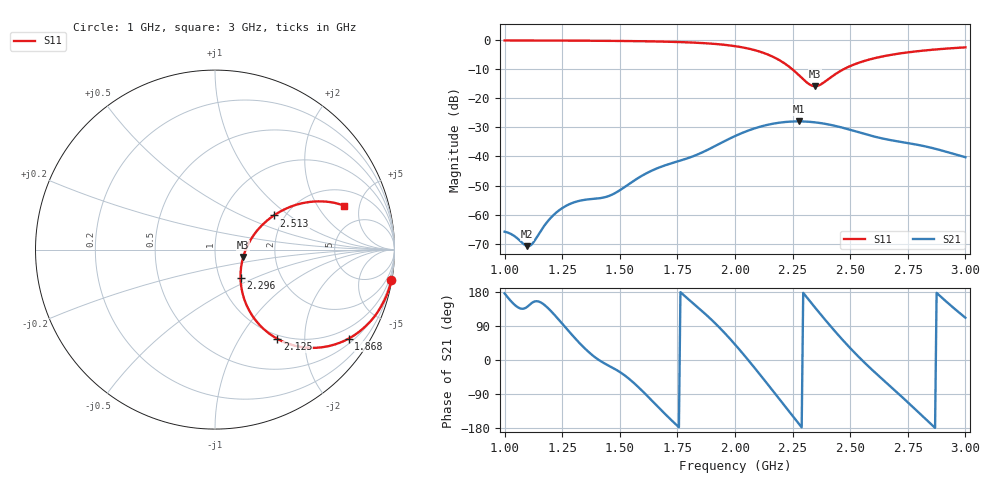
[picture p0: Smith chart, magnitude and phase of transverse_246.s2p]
! TOUCHSTONE file generated by CST MICROWAVE STUDIO
! Date and time: Tue Mar 11 13:58:00 2025
! Project name: transverse.cst
! Parameters = {Fracture=5; B=10; D=160; F=25; Feed=2.85625; L=100; M=20; R=0.384908; S=1; Theta=270; length=57.125; wave=114.25}
! Header version: 2024
! Port assignment regex: !\s*Touchstone port\s*([0-9]+)\s*=\s*(CST MWS port|CST DES external port|CST DES block port)\s*(.+)\s* \(\"(.*)\"\)(\s*mode\s*([0-9]+))?.*
! Touchstone port assignment:
! Touchstone port 1 = CST MWS port 1 ("")
! Touchstone port 2 = CST MWS port 2 ("")
# GHz S MA R 50
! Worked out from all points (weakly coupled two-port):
!   305 points, 1 GHz to 3 GHz, reference 50 ohm
!   highest |S21| = -27.90 dB at 2.276 GHz (marker M1); lowest = -70.9 dB at 1.099 GHz (marker M2)
!   lowest |S11| = -15.8 dB at 2.349 GHz (marker M3), VSWR 1.39, Z = 68.4 - j5.67 ohm
!   |S11| at or under -10 dB: 2.25 GHz to 2.47 GHz (220.2 MHz wide, 9.33 % of centre)
!   S12 and S22 are empty: the file has one direction only
!   S11 on the Smith chart (normalised r, x): 1 GHz: 0, -12; 1.868 GHz: 0.64, -3.19; 2.125 GHz: 0.94, -1.48; 2.296 GHz: 1.25, -0.42; 2.513 GHz: 1.76, +0.78; 3 GHz: 3.05, +3.51
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1  0.9976 -9.8  0.0005066 175.8  0 0.0  0 0.0
1.03947  0.9972 -10.3  0.000434 147.9  0 0.0  0 0.0
1.09868  0.9965 -11.1  0.0002852 140.6  0 0.0  0 0.0
1.11842  0.9961 -11.4  0.0003085 150.7  0 0.0  0 0.0
1.17763  0.9946 -12.4  0.0006855 142.9  0 0.0  0 0.0
1.22368  0.9933 -13.1  0.001077 114.3  0 0.0  0 0.0
1.27632  0.9916 -14.0  0.001477 77.5  0 0.0  0 0.0
1.33553  0.9893 -15.2  0.001761 38.2  0 0.0  0 0.0
1.46053  0.9812 -17.9  0.00215 -17.8  0 0.0  0 0.0
1.67105  0.9567 -24.2  0.006469 -126.8  0 0.0  0 0.0
1.86842  0.8949 -33.6  0.01231 122.9  0 0.0  0 0.0
2  0.7958 -43.3  0.02248 41.0  0 0.0  0 0.0
2.125  0.6071 -55.0  0.03391 -51.0  0 0.0  0 0.0
2.20395  0.4289 -60.5  0.03876 -111.9  0 0.0  0 0.0
2.27632  0.2543 -54.8  0.04025 -167.7  0 0.0  0 0.0
2.29605  0.2144 -48.4  0.04012 177.2  0 0.0  0 0.0
2.33553  0.1654 -24.6  0.03919 147.3  0 0.0  0 0.0
2.34868  0.1625 -14.4  0.0387 137.5  0 0.0  0 0.0
2.51316  0.3798 30.1  0.02786 23.0  0 0.0  0 0.0
2.67105  0.5582 27.8  0.01929 -67.8  0 0.0  0 0.0
2.83553  0.678 23.2  0.01464 -160.5  0 0.0  0 0.0
3  0.7586 18.8  0.009715 111.5  0 0.0  0 0.0
